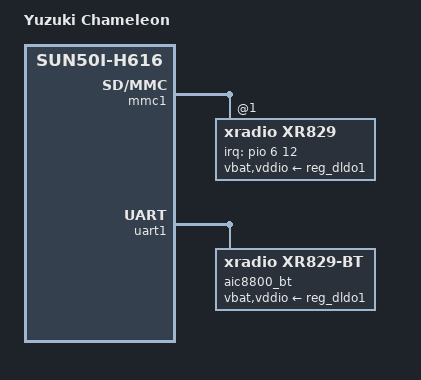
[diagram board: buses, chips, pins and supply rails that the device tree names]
// SPDX-License-Identifier: (GPL-2.0+ or MIT)
/*
 * Copyright (C) 2023 BigfootACA <bigfoot@classfun.cn>.
 */

/dts-v1/;

#include "sun50i-h616.dtsi"
#include "sun50i-h616-cpu-opp.dtsi"
#include "sun50i-h616-gpu-opp.dtsi"
#include "sun50i-h616-yuzuki-chameleon-base.dtsi"

/ {
	model = "Yuzuki Chameleon";
	compatible = "yuzuki,chameleon", "allwinner,sun50i-h616";

	wifi_clk: wifi-clk {
		compatible = "fixed-clock";
		clock-frequency = <40000000>;
		#clock-cells = <0>;
	};
};

/* XRadio XR829 WiFi */
&mmc1 {
	status = "okay";

	xr829: sdio_wifi@1 {
		reg = <1>;
		compatible = "xradio,xr829";
		pinctrl-names = "default";
		pinctrl-0 = <&wifi_wake>;
		interrupt-parent = <&pio>;
		interrupts = <6 12 IRQ_TYPE_EDGE_RISING>; /* PG12 */
		interrupt-names = "host-wake";
		vbat-supply = <&reg_dldo1>;
		vddio-supply = <&reg_dldo1>;
	};
};

/* XRadio XR829 Bluetooth */
&uart1 {
	status = "okay";

	aic8800_bt: bluetooth {
		compatible = "xradio,xr829-bt";
		clocks = <&wifi_clk>;
		clock-names = "default";
		vbat-supply = <&reg_dldo1>;
		vddio-supply = <&reg_dldo1>;
	};
};
